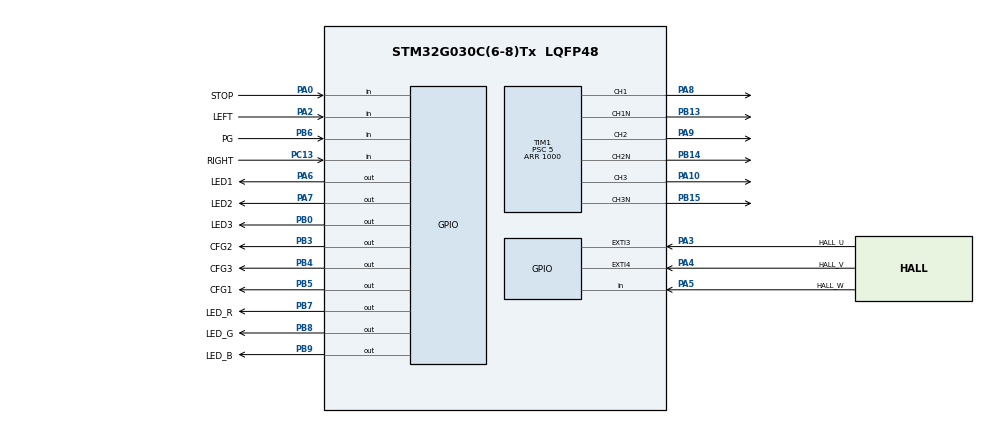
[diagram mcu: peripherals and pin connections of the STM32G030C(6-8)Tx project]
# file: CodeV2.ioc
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Mcu.Family=STM32G0
Mcu.Name=STM32G030C(6-8)Tx
Mcu.Package=LQFP48
NVIC.TIM14_IRQn=true\:0\:0\:false\:false\:true\:true\:true\:true
NVIC.TIM16_IRQn=true\:3\:0\:true\:false\:true\:true\:true\:true
NVIC.TIM17_IRQn=true\:2\:0\:true\:false\:true\:true\:true\:true
PA0.GPIO_Label=STOP
PA0.GPIO_PuPd=GPIO_PULLUP
PA0.Signal=GPIO_Input
PA10.Signal=S_TIM1_CH3
PA13.Mode=Serial_Wire
PA13.Signal=SYS_SWDIO
PA14-BOOT0.Mode=Serial_Wire
PA14-BOOT0.Signal=SYS_SWCLK
PA2.GPIO_Label=LEFT
PA2.GPIO_PuPd=GPIO_PULLUP
PA2.Signal=GPIO_Input
PA3.GPIO_Label=HALL_U
PA3.Signal=GPXTI3
PA4.GPIO_Label=HALL_V
PA4.Signal=GPXTI4
PA5.GPIO_Label=HALL_W
PA5.Signal=GPIO_Input
PA6.GPIO_Label=LED1
PA6.Signal=GPIO_Output
PA7.GPIO_Label=LED2
PA7.Signal=GPIO_Output
PA8.Signal=S_TIM1_CH1
PA9.Signal=S_TIM1_CH2
PB0.GPIO_Label=LED3
PB0.Signal=GPIO_Output
PB13.Mode=PWM Generation1 CH1 CH1N
PB13.Signal=TIM1_CH1N
PB14.Mode=PWM Generation2 CH2 CH2N
PB14.Signal=TIM1_CH2N
PB15.Mode=PWM Generation3 CH3 CH3N
PB15.Signal=TIM1_CH3N
PB3.GPIO_Label=CFG2
PB3.Signal=GPIO_Output
PB4.GPIO_Label=CFG3
PB4.Signal=GPIO_Output
PB5.GPIO_Label=CFG1
PB5.Signal=GPIO_Output
PB6.GPIO_Label=PG
PB6.GPIO_PuPd=GPIO_PULLUP
PB6.Signal=GPIO_Input
PB7.GPIO_Label=LED_R
PB7.Signal=GPIO_Output
PB8.GPIO_Label=LED_G
PB8.Signal=GPIO_Output
PB9.GPIO_Label=LED_B
PB9.Signal=GPIO_Output
PC13.GPIO_Label=RIGHT
PC13.GPIO_PuPd=GPIO_PULLUP
PC13.Signal=GPIO_Input
ProjectManager.HeapSize=0x200
ProjectManager.StackSize=0x400
ProjectManager.TargetToolchain=STM32CubeIDE
RCC.ADCFreq_Value=64000000
RCC.AHBFreq_Value=64000000
RCC.CortexFreq_Value=64000000
RCC.EXTERNAL_CLOCK_VALUE=12288000
RCC.HCLKFreq_Value=64000000
RCC.HSE_VALUE=8000000
RCC.HSI_VALUE=16000000
RCC.LSE_VALUE=32768
RCC.SYSCLKFreq_VALUE=64000000
RCC.SYSCLKSource=RCC_SYSCLKSOURCE_PLLCLK
RCC.VCOOutputFreq_Value=128000000
SH.S_TIM1_CH1.0=TIM1_CH1,PWM Generation1 CH1 CH1N
SH.S_TIM1_CH2.0=TIM1_CH2,PWM Generation2 CH2 CH2N
SH.S_TIM1_CH3.0=TIM1_CH3,PWM Generation3 CH3 CH3N
TIM1.Channel-PWM\ Generation1\ CH1\ CH1N=TIM_CHANNEL_1
TIM1.Channel-PWM\ Generation2\ CH2\ CH2N=TIM_CHANNEL_2
TIM1.Channel-PWM\ Generation3\ CH3\ CH3N=TIM_CHANNEL_3
TIM1.DeadTime=50
TIM1.Period=1000
TIM1.Prescaler=5
TIM14.AutoReloadPreload=TIM_AUTORELOAD_PRELOAD_ENABLE
TIM14.Period=65535
TIM14.Prescaler=639
TIM16.AutoReloadPreload=TIM_AUTORELOAD_PRELOAD_ENABLE
TIM16.Period=99
TIM16.Prescaler=63
TIM17.Prescaler=639
VP_TIM14_VS_ClockSourceINT.Mode=Enable_Timer
VP_TIM16_VS_ClockSourceINT.Mode=Enable_Timer
VP_TIM17_VS_ClockSourceINT.Mode=Enable_Timer
board=custom

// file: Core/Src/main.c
/* USER CODE BEGIN Header */
/**
 ******************************************************************************
 * @file           : main.c
 * @brief          : Main program body
 ******************************************************************************
 * @attention
 *
 * Copyright (c) 2023 STMicroelectronics.
 * All rights reserved.
 *
 * This software is licensed under terms that can be found in the LICENSE file
 * in the root directory of this software component.
 * If no LICENSE file comes with this software, it is provided AS-IS.
 *
 ******************************************************************************
 */
/* USER CODE END Header */
#include "main.h"
#include "tim.h"
#include "gpio.h"

/* USER CODE BEGIN Includes */
#include "math.h"
/* USER CODE END Includes */

/* USER CODE BEGIN PD */
#define TIMEBASE 5 // waiting timebase for speed in/decrease
#define ACCEL_RATE 0.001
#define DECEL_RATE 0.005

#define BASE_PWM 600
#define MAX_PWM 1000

#define MIN_SPEED 1
#define MAX_SPEED 10
#define SPEED_STEP 0.2
#define INITAL_SPEED 0.1

#define BLINK_RATE 1000

#define MOTOR_POLES 4
#define CLOCKSPEED 64000000
#define SPEED_TIM htim14

#define LED_TIM htim17

/* USER CODE END PD */

/* USER CODE BEGIN PV */

uint8_t hal_sensors[3];

Direction dir = eRight;
double currentSpeed = 0;
LedColor color = eRed;

SystemState currentState = eStop;

uint8_t commutationState = 0;

uint32_t powerDuty = 700;

typedef enum
{
	eButtonNone,
	eButtonRight,
	eButtonLeft,
	eButtonStop
} ButtonState;

float currentScaling[] = {0, 1, 0.85, 0.7, 0.55};

typedef enum
{
	e5V = 1,
	e9V = 2,
	e12V = 3,
	e15V = 4
} Voltage;

Voltage currentVoltage = e12V;

uint8_t pg_state = 0;
/* USER CODE END PV */

void SystemClock_Config(void);
/* USER CODE BEGIN PFP */
SystemState mainStateMachine(SystemState inState, ButtonState buttonState);
uint32_t calcPwm(SystemState state, Voltage volt, float speed);
/* USER CODE END PFP */

/* USER CODE BEGIN 0 */

void alignMotor(uint32_t time, uint32_t power)
{
	commutationState = 0;
	HAL_TIM_Base_Start(&htim1);
	htim1.Instance->CCR1 = power;
	htim1.Instance->CCR2 = power;
	htim1.Instance->CCR3 = 1001;
	HAL_TIM_PWM_Start(&htim1, TIM_CHANNEL_1);
	HAL_TIMEx_PWMN_Start(&htim1, TIM_CHANNEL_3);
	HAL_Delay(time);
	HAL_TIM_PWM_Stop(&htim1, TIM_CHANNEL_1);
	HAL_TIM_PWM_Stop(&htim1, TIM_CHANNEL_2);
}

uint32_t calcPwm(SystemState state, Voltage volt, float speed)
{
	uint32_t temp = BASE_PWM;

	temp = temp * currentScaling[volt];
	if(state == eAccel)
	{
		temp *= 1.3;
	}
	else if( state == eDecel)
	{
		temp *= 0.8;
	}

	temp *= 1 + 0.2 * (speed/MAX_SPEED);

	if (temp > MAX_PWM)
		return MAX_PWM;

	return temp;
}

bool setVoltage (Voltage volt)
{
	switch (volt) {
	case e5V:
		GPIOB->MODER &= ~(0x3C0);
		HAL_GPIO_WritePin(CFG1_GPIO_Port, CFG1_Pin, 1);
		break;
	case e9V:
		HAL_GPIO_WritePin(CFG1_GPIO_Port, CFG1_Pin, 0);
		HAL_GPIO_WritePin(CFG2_GPIO_Port, CFG2_Pin, 0);
		HAL_GPIO_WritePin(CFG3_GPIO_Port, CFG3_Pin, 0);
		break;
	case e12V:
		GPIOB->MODER |= (0x140);
		HAL_GPIO_WritePin(CFG1_GPIO_Port, CFG1_Pin, 0);
		HAL_GPIO_WritePin(CFG2_GPIO_Port, CFG2_Pin, 0);
		HAL_GPIO_WritePin(CFG3_GPIO_Port, CFG3_Pin, 1);
		break;
	case e15V:
		GPIOB->MODER |= (0x140);
		HAL_GPIO_WritePin(CFG1_GPIO_Port, CFG1_Pin, 0);
		HAL_GPIO_WritePin(CFG2_GPIO_Port, CFG2_Pin, 1);
		HAL_GPIO_WritePin(CFG3_GPIO_Port, CFG3_Pin, 1);
		break;
	default:
		break;
	}

	HAL_Delay(600);
	return  ~HAL_GPIO_ReadPin(PG_GPIO_Port, PG_Pin);

}

uint32_t reduce_speed(uint32_t in_speed)
{
	if (in_speed > 10000)
	{
		in_speed -= 500;
	}
	else if (in_speed > 5000)
	{
		in_speed -= 300;
	}
	else if (in_speed > 2000)
	{
		in_speed -= 150;
	}
	else
	{
		in_speed -= 100;
	}
	return in_speed;
}

uint32_t speedToLedTimReload(double speed)
{

	double temp = CLOCKSPEED / ( ( (double) LED_TIM.Instance->PSC + 1.0) * speed * 6);
	return ((uint32_t) (temp + 0.5) ) - 1;

}

uint32_t speedToTimReload(double speed)
{

	double temp = CLOCKSPEED / ( ( (double) SPEED_TIM.Instance->PSC + 1.0) * speed * MOTOR_POLES * 6);
	return ((uint32_t) (temp + 0.5) ) - 1;

}

ButtonState updateButtonState()
{
	uint8_t left = HAL_GPIO_ReadPin(LEFT_GPIO_Port, LEFT_Pin) ^1;
	uint8_t right =  HAL_GPIO_ReadPin(RIGHT_GPIO_Port, RIGHT_Pin)^1;
	uint8_t stop =  HAL_GPIO_ReadPin(STOP_GPIO_Port, STOP_Pin)^1;

	if (left + right + stop > 1 || left + right + stop == 0)
	{
		return eButtonNone;
	}
	else if (left)
	{
		return eButtonLeft;
	}
	else if(right)
	{
		return eButtonRight;
	}
	else
	{
		return eButtonStop;
	}

}

/* USER CODE END 0 */

 int main(void)
{

	 /* MCU Configuration--------------------------------------------------------*/

	 /* Reset of all peripherals, Initializes the Flash interface and the Systick. */
	 HAL_Init();

	 /* Configure the system clock */
	 SystemClock_Config();

	 /* Initialize all configured peripherals */
	 MX_GPIO_Init();
	 MX_TIM1_Init();
	 MX_TIM16_Init();
	 MX_TIM17_Init();
	 MX_TIM14_Init();
	 /* USER CODE BEGIN 2 */

	 setLed(eLed1 | eLed2 | eLed3);
	 setLedColor(eRed);
	 HAL_Delay(300);
	 setLedColor(eGreen);
	 HAL_Delay(300);
	 setLedColor(eBlue);
	 HAL_Delay(300);
	 setLed(eNone);

	 while (currentVoltage >= e5V)
	 {
		 if (setVoltage(currentVoltage))
		 {
			 break;
		 }
		 currentVoltage--;
	 }

	 setLed(eLed1 | eLed2 | eLed3);
	 if(currentVoltage == e15V)
	 {
		 setLedColor(eGreen);
	 }
	 else
	 {
		 setLedColor(eBlue);
	 }

	 HAL_Delay(500);
	 setLed(eNone);

	 ButtonState buttonState = eButtonNone;

	 setLedColor(eBlack);
	 setLed(eNone);

	 /* USER CODE END 2 */

	 /* Infinite loop */
	 while (1)
	 {

		 /* USER CODE BEGIN 3 */

		 buttonState = updateButtonState();
		 currentState = mainStateMachine(currentState, buttonState);
		 ledControl(currentState);

		 HAL_Delay(5);

	 }
	 /* USER CODE END 3 */
}

 /**
  * @brief System Clock Configuration
  * @retval None
  */
 void SystemClock_Config(void)
 {
	 RCC_OscInitTypeDef RCC_OscInitStruct = {0};
	 RCC_ClkInitTypeDef RCC_ClkInitStruct = {0};

	 /** Configure the main internal regulator output voltage
	  */
	 HAL_PWREx_ControlVoltageScaling(PWR_REGULATOR_VOLTAGE_SCALE1);

	 /** Initializes the RCC Oscillators according to the specified parameters
	  * in the RCC_OscInitTypeDef structure.
	  */
	 RCC_OscInitStruct.OscillatorType = RCC_OSCILLATORTYPE_HSI;
	 RCC_OscInitStruct.HSIState = RCC_HSI_ON;
	 RCC_OscInitStruct.HSIDiv = RCC_HSI_DIV1;
	 RCC_OscInitStruct.HSICalibrationValue = RCC_HSICALIBRATION_DEFAULT;
	 RCC_OscInitStruct.PLL.PLLState = RCC_PLL_ON;
	 RCC_OscInitStruct.PLL.PLLSource = RCC_PLLSOURCE_HSI;
	 RCC_OscInitStruct.PLL.PLLM = RCC_PLLM_DIV1;
	 RCC_OscInitStruct.PLL.PLLN = 8;
	 RCC_OscInitStruct.PLL.PLLP = RCC_PLLP_DIV2;
	 RCC_OscInitStruct.PLL.PLLR = RCC_PLLR_DIV2;
	 if (HAL_RCC_OscConfig(&RCC_OscInitStruct) != HAL_OK)
	 {
		 Error_Handler();
	 }

	 /** Initializes the CPU, AHB and APB buses clocks
	  */
	 RCC_ClkInitStruct.ClockType = RCC_CLOCKTYPE_HCLK|RCC_CLOCKTYPE_SYSCLK
			 |RCC_CLOCKTYPE_PCLK1;
	 RCC_ClkInitStruct.SYSCLKSource = RCC_SYSCLKSOURCE_PLLCLK;
	 RCC_ClkInitStruct.AHBCLKDivider = RCC_SYSCLK_DIV1;
	 RCC_ClkInitStruct.APB1CLKDivider = RCC_HCLK_DIV1;

	 if (HAL_RCC_ClockConfig(&RCC_ClkInitStruct, FLASH_LATENCY_2) != HAL_OK)
	 {
		 Error_Handler();
	 }
 }

 /* USER CODE BEGIN 4 */

 void ledControl(SystemState state)
 {
	 switch(state){
	 case eStop:
		 setLed(eNone);
		 break;
	 case eAccel:
		 setLedColor(eYellow);
		 break;
	 case eDecel:
		 setLedColor(eYellow);
		 break;
	 case eRunning:
		 setLedColor(eGreen);
		 break;
	 };
 }

 void setLedColor(LedColor color)
 {
	 static last_color = eBlack;

	 if (last_color != color)
	 {

		 switch (color) {
		 case eBlack:
			 HAL_GPIO_WritePin(LED_R_GPIO_Port, LED_R_Pin, 1);
			 HAL_GPIO_WritePin(LED_G_GPIO_Port, LED_G_Pin, 1);
			 HAL_GPIO_WritePin(LED_B_GPIO_Port, LED_B_Pin, 1);
			 break;
		 case eRed:
			 HAL_GPIO_WritePin(LED_R_GPIO_Port, LED_R_Pin, 0);
			 HAL_GPIO_WritePin(LED_G_GPIO_Port, LED_G_Pin, 1);
			 HAL_GPIO_WritePin(LED_B_GPIO_Port, LED_B_Pin, 1);
			 break;
		 case eGreen:
			 HAL_GPIO_WritePin(LED_R_GPIO_Port, LED_R_Pin, 1);
			 HAL_GPIO_WritePin(LED_G_GPIO_Port, LED_G_Pin, 0);
			 HAL_GPIO_WritePin(LED_B_GPIO_Port, LED_B_Pin, 1);
			 break;
		 case eBlue:
			 HAL_GPIO_WritePin(LED_R_GPIO_Port, LED_R_Pin, 1);
			 HAL_GPIO_WritePin(LED_G_GPIO_Port, LED_G_Pin, 1);
			 HAL_GPIO_WritePin(LED_B_GPIO_Port, LED_B_Pin, 0);
			 break;
		 case eYellow:
			 HAL_GPIO_WritePin(LED_R_GPIO_Port, LED_R_Pin, 0);
			 HAL_GPIO_WritePin(LED_G_GPIO_Port, LED_G_Pin, 0);
			 HAL_GPIO_WritePin(LED_B_GPIO_Port, LED_B_Pin, 1);
			 break;
		 default:
			 break;
		 }
	 }
	 last_color = color;
 }

 void setLed(Led led)
 {

	 if (led & eLed1)
	 {
		 HAL_GPIO_WritePin(LED1_GPIO_Port, LED1_Pin, 1);
	 }
	 else
	 {
		 HAL_GPIO_WritePin(LED1_GPIO_Port, LED1_Pin, 0);
	 }

	 if (led & eLed2)
	 {
		 HAL_GPIO_WritePin(LED2_GPIO_Port, LED2_Pin, 1);
	 }
	 else
	 {
		 HAL_GPIO_WritePin(LED2_GPIO_Port, LED2_Pin, 0);
	 }

	 if (led & eLed3)
	 {
		 HAL_GPIO_WritePin(LED3_GPIO_Port, LED3_Pin, 1);
	 }
	 else
	 {
		 HAL_GPIO_WritePin(LED3_GPIO_Port, LED3_Pin, 0);
	 }
 }

 SystemState mainStateMachine(SystemState inState, ButtonState buttonState)
 {

	 static SystemState lastState = eStop;
	 static double targetSpeed = 0;
	 SystemState nextState = inState;
	 static uint32_t waitUntil = 0;

	 if(buttonState == eButtonStop )
	 {
		 nextState= eStopping;
		 targetSpeed = 0;
	 }

	 if ( waitUntil > HAL_GetTick() && (inState == eAccel || inState == eDecel))
	 {
		 return nextState;
	 }

	 switch (inState) {
	 case eStop:
		 if (inState != lastState )
		 {
			 alignMotor(currentSpeed * 800, 1000);
			 currentSpeed = 0;
			 HAL_TIM_Base_Stop_IT(&htim14);
			 HAL_TIM_Base_Stop_IT(&LED_TIM);
			 setLed(eNone);
			 HAL_TIM_PWM_Stop(&htim1, TIM_CHANNEL_1);
			 HAL_TIM_PWM_Stop(&htim1, TIM_CHANNEL_2);
			 HAL_TIM_PWM_Stop(&htim1, TIM_CHANNEL_3);
			 HAL_TIMEx_PWMN_Stop(&htim1, TIM_CHANNEL_1);
			 HAL_TIMEx_PWMN_Stop(&htim1, TIM_CHANNEL_2);
			 HAL_TIMEx_PWMN_Stop(&htim1, TIM_CHANNEL_3);

			 waitUntil = HAL_GetTick() + BLINK_RATE;
		 }

		 if(buttonState == eButtonLeft ||  buttonState == eButtonRight)
		 {
			 nextState = eAccel;
			 targetSpeed = MIN_SPEED;

			 dir = eRight;
			 if(buttonState == eButtonLeft)
			 {
				 dir = eLeft;
			 }

		 }

		 if ( HAL_GetTick() > waitUntil)
		 {
			 setLedColor(eBlue);
			 waitUntil += BLINK_RATE;
			 setLed(eLed3);
			 HAL_Delay(50);
			 setLed(eNone);
		 }

		 break;
	 case eRunning:
		 if(buttonState == eButtonLeft )
		 {
			 if (dir == eRight)
			 {
				 nextState = eDecel;
				 targetSpeed -= SPEED_STEP;
			 }
			 else
			 {
				 nextState = eAccel;
				 targetSpeed += SPEED_STEP;
			 }
		 }
		 else if(buttonState == eButtonRight)
		 {
			 if (dir == eRight)
			 {
				 nextState = eAccel;
				 targetSpeed += SPEED_STEP;
			 }
			 else
			 {
				 nextState = eDecel;
				 targetSpeed -= SPEED_STEP;
			 }
		 }

		 powerDuty = calcPwm(inState, currentVoltage, currentSpeed);

		 break;

	 case eAccel:
		 powerDuty = calcPwm(inState, currentVoltage, currentSpeed);

		 // abort if we are at max speed
		 if (targetSpeed > MAX_SPEED)
		 {
			 targetSpeed = MAX_SPEED;
			 break;
		 }

		 // start pwm if we were stopped
		 if (lastState == eStop)
		 {
			 alignMotor(300, 300);
			 __HAL_TIM_SET_AUTORELOAD(&htim14, speedToTimReload(INITAL_SPEED));
			 currentSpeed = INITAL_SPEED;
			 HAL_TIM_Base_Start_IT(&htim14);
			 HAL_TIM_Base_Start(&htim1);
			 HAL_TIM_Base_Start_IT(&htim16);

			 __HAL_TIM_SET_AUTORELOAD(&LED_TIM, speedToLedTimReload(INITAL_SPEED));
			 HAL_TIM_Base_Start_IT(&LED_TIM);
		 }

		 if (currentSpeed < targetSpeed )
		 {
			 currentSpeed += ACCEL_RATE;
			 __HAL_TIM_SET_AUTORELOAD(&htim14, speedToTimReload(currentSpeed));
			 __HAL_TIM_SET_AUTORELOAD(&LED_TIM, speedToLedTimReload(currentSpeed));

		 }
		 else
		 {
			 targetSpeed = currentSpeed;
			 nextState = eRunning;
		 }
		 waitUntil = HAL_GetTick() + TIMEBASE;

		 break;
	 case eDecel:
	 case eStopping:

		 // switch dir if we are at the minimum speed
		 if (currentSpeed < MIN_SPEED)
		 {
			 if (inState == eDecel)
			 {
				 currentSpeed = INITAL_SPEED;
				 targetSpeed = MIN_SPEED;
				 dir ^= 1;
				 nextState = eAccel;
				 break;
			 }
			 else
			{
				 nextState = eStop;
				 break;
			}
		 }

		 if (currentSpeed > targetSpeed )
		 {
			 currentSpeed -= DECEL_RATE;
			 __HAL_TIM_SET_AUTORELOAD(&htim14, speedToTimReload(currentSpeed));
			 __HAL_TIM_SET_AUTORELOAD(&LED_TIM, speedToLedTimReload(currentSpeed));
		 }
		 else
		 {
			 targetSpeed = currentSpeed;
			 nextState = eRunning;
		 }
		 waitUntil = HAL_GetTick() + TIMEBASE;

		 break;
	 default:
		 break;
	 }

	 lastState = inState;
	 return nextState;

 }

 /* USER CODE END 4 */

 /**
  * @brief  This function is executed in case of error occurrence.
  * @retval None
  */
 void Error_Handler(void)
 {
	 __disable_irq();
	 while (1)
	 {
	 }
 }
